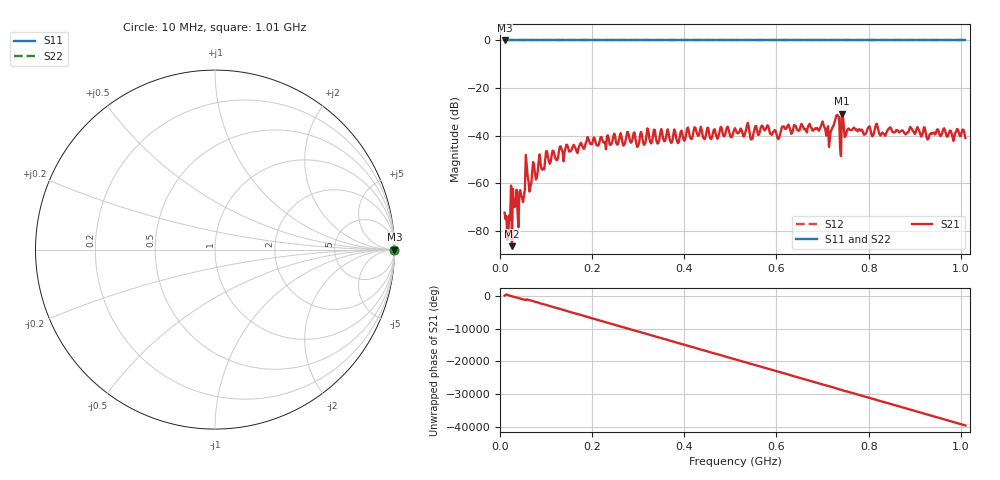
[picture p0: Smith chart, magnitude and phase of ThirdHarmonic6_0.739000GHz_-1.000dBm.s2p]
! 8/16/2025 12:44:22 AM
! C:\ANRITSUVNA\TEMP\TEMP.S2P
! CHANNEL.1
! TR.MEASUREMENT
! RAW.DATA
! RF.CORRECTION.OFF
! AVERAGING.OFF
! IF.BANDWIDTH: 5KHZ
! SWEEPTYPE:  FREQ.SWEEP(Linear)
! Reference Plane Port Info
! PORT:  PORT1  PORT2
! DISTANCE:  0  m  0  m
! TIME:  0  s  0  s
! PHASE.OFFSET:  0  deg.  0  deg.
! LOSS:  0  dB  0  dB
! REF.LOSS:  0  dB  0  dB
! REF.FREQ:  0  Hz  0  Hz
! Power Info
! POWER:  -20  dBm  -20  dBm
! EFF.POWER:  -20  dBm  -20  dBm
! SOURCE.ATTEN:  0  dB  0  dB
! TEST.ATTEN:  0  dB  0  dB
# GHZ S RI R 50.0
! FREQ.GHZ  S11RE  S11IM  S21RE  S21IM  S12RE  S12IM  S22RE  S22IM
!; PortSelection: Port_12
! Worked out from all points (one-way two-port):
!   501 points, 10 MHz to 1.01 GHz, reference 50 ohm
!   highest |S21| = -30.74 dB at 742 MHz (marker M1); lowest = -86.3 dB at 26 MHz (marker M2)
!   lowest |S11| = 0.0 dB at 10 MHz (marker M3)
!   |S11| at or under -10 dB: nowhere
!   |S22| runs from 0.0 to 0.0 dB; largest |S21 - S12| = 1
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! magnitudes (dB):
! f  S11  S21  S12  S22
! 10 MHz  0.0  -72.3  0.0  0.0
! 18 MHz  0.0  -81.3  0.0  0.0
! 26 MHz  0.0  -86.3  0.0  0.0
! 50 MHz  0.0  -67.8  0.0  0.0
! 58 MHz  0.0  -52.2  0.0  0.0
! 64 MHz  0.0  -63.4  0.0  0.0
! 72 MHz  0.0  -51.0  0.0  0.0
! 94 MHz  0.0  -53.9  0.0  0.0
! 102 MHz  0.0  -46.5  0.0  0.0
! 178 MHz  0.0  -44.0  0.0  0.0
! 344 MHz  0.0  -42.9  0.0  0.0
! 510 MHz  0.0  -36.8  0.0  0.0
! 604 MHz  0.0  -41.5  0.0  0.0
! 616 MHz  0.0  -36.1  0.0  0.0
! 678 MHz  0.0  -37.8  0.0  0.0
! 700 MHz  0.0  -34.0  0.0  0.0
! 718 MHz  0.0  -37.8  0.0  0.0
! 732 MHz  0.0  -31.2  0.0  0.0
! 736 MHz  0.0  -32.2  0.0  0.0
! 742 MHz  0.0  -30.7  0.0  0.0
! 844 MHz  0.0  -37.1  0.0  0.0
! 1.01 GHz  0.0  -41.0  0.0  0.0
